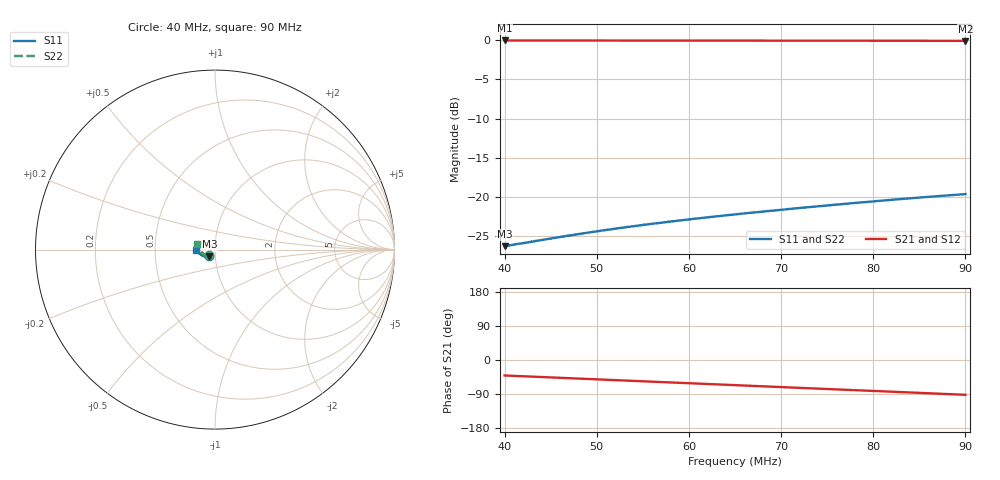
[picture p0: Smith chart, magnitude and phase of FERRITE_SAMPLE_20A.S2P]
!Agilent Technologies,E5061B,MY49102235,A.02.00
!Date: Mon Jul 03 10:30:10 2023
!Data & Calibration Information:
!Freq	S11:SOLT2(ON)	S21:SOLT2(ON)	S12:SOLT2(ON)	S22:SOLT2(ON)
# Hz S RI R 50
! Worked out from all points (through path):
!   1600 points, 40 MHz to 90 MHz, reference 50 ohm
!   highest |S21| = -0.01 dB at 40.03 MHz (marker M1); lowest = -0.1 dB at 90 MHz (marker M2)
!   group delay of S21, straight-line fit = 2.83 ns
!   lowest |S11| = -26.3 dB at 40 MHz (marker M3), VSWR 1.10, Z = 46.9 - j3.49 ohm
!   |S11| at or under -10 dB: start of sweep to end of sweep
!   |S22| runs from -26.4 to -19.6 dB; largest |S21 - S12| = 0.0015
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4e7  -0.0309 -0.0372  0.7554 -0.6535  0.7557 -0.6525  -0.0357 -0.0318
4.003127e7  -0.031 -0.0372  0.7552 -0.6539  0.7552 -0.6529  -0.0357 -0.0317
4.028143e7  -0.0313 -0.0373  0.7523 -0.6571  0.7523 -0.6564  -0.0361 -0.0317
4.168856e7  -0.0332 -0.0376  0.7353 -0.6756  0.7356 -0.6751  -0.0383 -0.0318
4.453408e7  -0.0374 -0.0384  0.7001 -0.7121  0.7002 -0.7114  -0.043 -0.0315
4.834897e7  -0.043 -0.0391  0.6499 -0.7574  0.65 -0.7572  -0.0494 -0.0301
5.04753e7  -0.0463 -0.0392  0.6205 -0.7813  0.6208 -0.7809  -0.053 -0.029
5.26329e7  -0.0497 -0.0392  0.59 -0.8047  0.59 -0.8042  -0.0565 -0.0276
5.666667e7  -0.056 -0.0385  0.5305 -0.844  0.5304 -0.8437  -0.0628 -0.0242
6.085679e7  -0.0627 -0.0367  0.4663 -0.8812  0.4662 -0.8804  -0.069 -0.0201
6.501563e7  -0.0694 -0.0339  0.3997 -0.9129  0.4 -0.9121  -0.0748 -0.0155
6.901814e7  -0.0758 -0.0301  0.3336 -0.939  0.3342 -0.9383  -0.0802 -0.0102
7.086304e7  -0.0787 -0.0281  0.3024 -0.9495  0.3028 -0.9486  -0.0825 -0.0074
7.33646e7  -0.0826 -0.0253  0.2596 -0.9619  0.2604 -0.9611  -0.0857 -0.00362
7.514697e7  -0.0852 -0.0229  0.2286 -0.9694  0.2293 -0.9687  -0.0878 -0.00071
7.749218e7  -0.0885 -0.0198  0.1878 -0.9776  0.1887 -0.9772  -0.0905 0.00372
7.936836e7  -0.0912 -0.0173  0.155 -0.9828  0.1556 -0.9828  -0.0924 0.00719
8.16823e7  -0.0943 -0.014  0.1143 -0.9882  0.1151 -0.9878  -0.0945 0.0118
8.358974e7  -0.0967 -0.0111  0.0809 -0.9912  0.0814 -0.9908  -0.0961 0.0158
8.596623e7  -0.0995 -0.00748  0.039 -0.993  0.0394 -0.9929  -0.0976 0.021
8.971857e7  -0.1038 -0.00115  -0.0267 -0.9928  -0.0266 -0.9922  -0.0995 0.0296
9e7  -0.1041 -0.000534  -0.0315 -0.9926  -0.0315 -0.9923  -0.0997 0.0303
